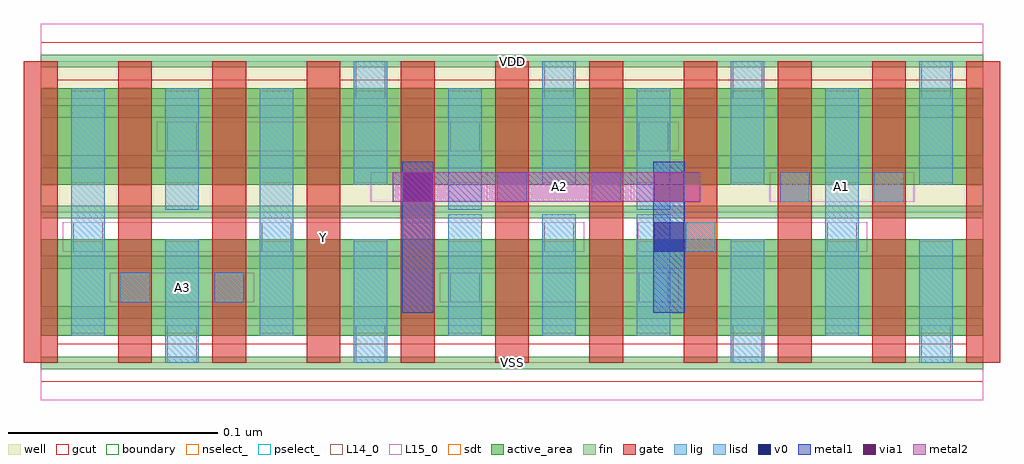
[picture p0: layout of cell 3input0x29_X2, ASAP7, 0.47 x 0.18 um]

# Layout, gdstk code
import gdstk
lib = gdstk.Library(unit=1e-6, precision=2.5e-10)
def R(c, l, rs):  # rectangles x0, y0, x1, y1
    for r in rs: c.add(gdstk.rectangle(r[:2], r[2:], *l))
def A(c, l, x, y, w, h, nx, ny, dx, dy):  # array of equal rectangles
    R(c, l, [(x+i*dx, y+j*dy, x+i*dx+w, y+j*dy+h) for i in range(nx) for j in range(ny)])
def P(c, l, *ps):  # polygons
    for p in ps: c.add(gdstk.Polygon(p, *l))
well = (1, 0)
fin = (2, 0)
gate = (7, 0)
gcut = (10, 0)
active_area = (11, 0)
nselect_ = (12, 0)
pselect_ = (13, 0)
L14_0 = (14, 0)
L15_0 = (15, 0)
lig = (16, 0)
lisd = (17, 0)
v0 = (18, 0)
metal1 = (19, 0)
metal2 = (20, 0)
via1 = (21, 0)
sdt = (88, 0)
boundary = (100, 0)

c_3input0x29_x2 = lib.new_cell('3input0x29_X2')
R(c_3input0x29_x2, well, [(0,0.072,0.45,0.144)])
A(c_3input0x29_x2, fin, 0, -0.003, 0.45, 0.006, 1, 7, 0, 0.024)
A(c_3input0x29_x2, gate, -0.008, 0, 0.016, 0.144, 11, 1, 0.045, 0)
P(c_3input0x29_x2, gcut, [(0,-0.009),(0,0),(-0.008,0),(-0.008,0.135),(0.008,0.135),(0.008,0.009),(0.127,0.009),(0.127,0.135),(0.143,0.135),(0.143,0.009),(0.442,0.009),(0.442,0.135),(-0.008,0.135),(-0.008,0.144),(0,0.144),(0,0.153),(0.45,0.153),(0.45,0.144),(0.458,0.144),(0.458,0),(0.45,0),(0.45,-0.009)])
R(c_3input0x29_x2, active_area, [(0,0.013,0.45,0.059), (0,0.085,0.45,0.131)])
R(c_3input0x29_x2, nselect_, [(0,0,0.45,0.072)])
R(c_3input0x29_x2, pselect_, [(0,0.072,0.45,0.144)])
A(c_3input0x29_x2, L14_0, 0.2405, 0.053, 0.014, 0.014, 3, 1, 0.0675, 0)
A(c_3input0x29_x2, L14_0, 0.173, 0.077, 0.014, 0.014, 3, 1, 0.045, 0)
A(c_3input0x29_x2, L14_0, 0.1505, 0.126, 0.014, 0.018, 4, 1, 0.09, 0)
R(c_3input0x29_x2, L14_0, [(0.0605,0,0.0745,0.018), (0.1505,0,0.1645,0.018), (0.3305,0,0.3445,0.018), (0.4205,0,0.4345,0.018), (0.038,0.029,0.052,0.043), (0.083,0.029,0.097,0.043), (0.1955,0.029,0.2095,0.043), (0.2855,0.029,0.2995,0.043), (0.0155,0.053,0.0295,0.067), (0.1055,0.053,0.1195,0.067), (0.353,0.077,0.367,0.091), (0.398,0.077,0.412,0.091), (0.0605,0.101,0.0745,0.115), (0.1955,0.101,0.2095,0.115), (0.2855,0.101,0.2995,0.115)])
R(c_3input0x29_x2, L15_0, [(0,-0.018,0.45,0.018), (0.033,0.029,0.102,0.043), (0.1905,0.029,0.3045,0.043), (0.0105,0.053,0.2595,0.067), (0.285,0.053,0.3945,0.067), (0.1575,0.077,0.195,0.091), (0.213,0.077,0.282,0.091), (0.348,0.077,0.417,0.091), (0.0555,0.101,0.3045,0.115), (0,0.126,0.45,0.162)])
A(c_3input0x29_x2, lig, 0.173, 0.077, 0.014, 0.014, 3, 1, 0.045, 0)
R(c_3input0x29_x2, lig, [(0.038,0.029,0.052,0.043), (0.083,0.029,0.097,0.043), (0.308,0.053,0.322,0.067), (0.353,0.077,0.367,0.091), (0.398,0.077,0.412,0.091)])
A(c_3input0x29_x2, lisd, 0.1945, 0.013, 0.016, 0.058, 3, 1, 0.045, 0)
A(c_3input0x29_x2, lisd, 0.1495, 0.085, 0.016, 0.059, 4, 1, 0.09, 0)
R(c_3input0x29_x2, lisd, [(0.0595,0,0.0755,0.059), (0.1495,0,0.1655,0.059), (0.3295,0,0.3455,0.059), (0.4195,0,0.4355,0.059), (0.0145,0.013,0.0305,0.131), (0.1045,0.013,0.1205,0.131), (0.3745,0.013,0.3905,0.131), (0.0595,0.073,0.0755,0.131), (0.1945,0.073,0.2105,0.131), (0.2845,0.073,0.3005,0.131)])
R(c_3input0x29_x2, v0, [(0.293,0.053,0.307,0.067), (0.173,0.077,0.187,0.091)])
R(c_3input0x29_x2, metal1, [(0.1725,0.024,0.1875,0.096), (0.2925,0.024,0.3075,0.096)])
R(c_3input0x29_x2, metal2, [(0.168,0.077,0.315,0.091)])
R(c_3input0x29_x2, via1, [(0.173,0.077,0.187,0.091), (0.293,0.077,0.307,0.091)])
A(c_3input0x29_x2, sdt, 0.0145, 0.014, 0.016, 0.044, 10, 2, 0.045, 0.072)
R(c_3input0x29_x2, boundary, [(0,0,0.45,0.144)])
c_3input0x29_x2.add(gdstk.Label('Y', (0.135,0.06), layer=15, texttype=251))
c_3input0x29_x2.add(gdstk.Label('VSS', (0.225,0), layer=15, texttype=251))
c_3input0x29_x2.add(gdstk.Label('VDD', (0.225,0.144), layer=15, texttype=251))
c_3input0x29_x2.add(gdstk.Label('A2', (0.2475,0.084), layer=15, texttype=251))
c_3input0x29_x2.add(gdstk.Label('VSS', (0.225,0), layer=15, texttype=251))
c_3input0x29_x2.add(gdstk.Label('VDD', (0.225,0.144), layer=15, texttype=251))
c_3input0x29_x2.add(gdstk.Label('A3', (0.0675,0.036), layer=15, texttype=251))
c_3input0x29_x2.add(gdstk.Label('VSS', (0.225,0), layer=15, texttype=251))
c_3input0x29_x2.add(gdstk.Label('VDD', (0.225,0.144), layer=15, texttype=251))
c_3input0x29_x2.add(gdstk.Label('A1', (0.3825,0.084), layer=15, texttype=251))
c_3input0x29_x2.add(gdstk.Label('VSS', (0.225,0), layer=15, texttype=251))
c_3input0x29_x2.add(gdstk.Label('VDD', (0.225,0.144), layer=15, texttype=251))
c_3input0x29_x2.add(gdstk.Label('VSS', (0.225,0), layer=3, texttype=251))
c_3input0x29_x2.add(gdstk.Label('VSS', (0.225,0), layer=3, texttype=251))
c_3input0x29_x2.add(gdstk.Label('VSS', (0.225,0), layer=3, texttype=251))
c_3input0x29_x2.add(gdstk.Label('VSS', (0.225,0), layer=3, texttype=251))
c_3input0x29_x2.add(gdstk.Label('VDD', (0.225,0.144), layer=1, texttype=251))
c_3input0x29_x2.add(gdstk.Label('VDD', (0.225,0.144), layer=1, texttype=251))
c_3input0x29_x2.add(gdstk.Label('VDD', (0.225,0.144), layer=1, texttype=251))
c_3input0x29_x2.add(gdstk.Label('VDD', (0.225,0.144), layer=1, texttype=251))

lib.write_gds('3input0x29_X2.gds')
